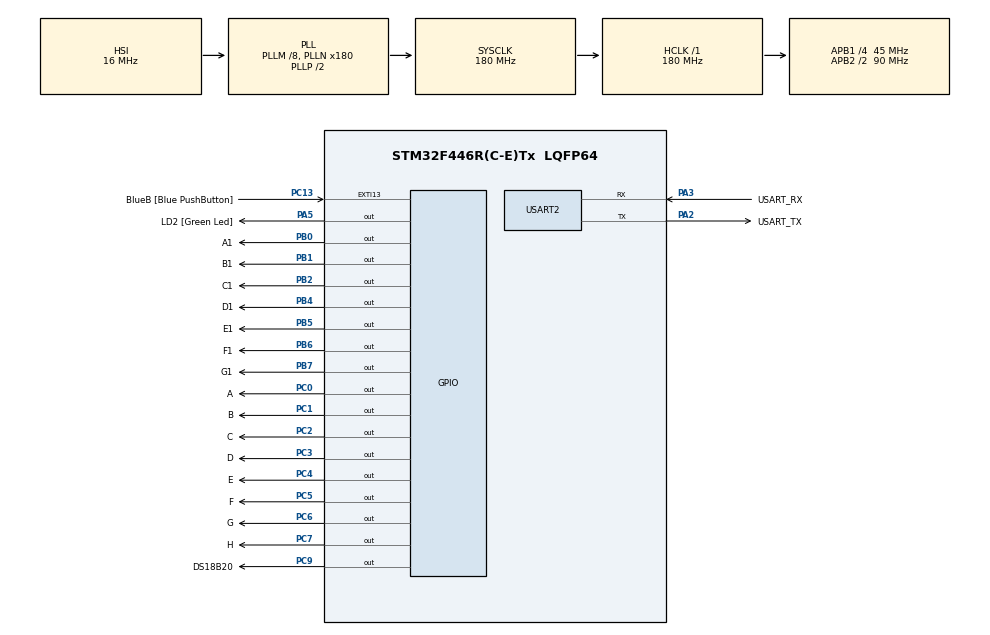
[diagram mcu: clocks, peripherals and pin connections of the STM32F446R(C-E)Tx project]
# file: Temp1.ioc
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Dma.Request0=USART2_RX
Dma.USART2_RX.0.Direction=DMA_PERIPH_TO_MEMORY
Dma.USART2_RX.0.FIFOMode=DMA_FIFOMODE_DISABLE
Dma.USART2_RX.0.Instance=DMA1_Stream5
Dma.USART2_RX.0.MemDataAlignment=DMA_MDATAALIGN_BYTE
Dma.USART2_RX.0.MemInc=DMA_MINC_ENABLE
Dma.USART2_RX.0.Mode=DMA_CIRCULAR
Dma.USART2_RX.0.PeriphDataAlignment=DMA_PDATAALIGN_BYTE
Dma.USART2_RX.0.PeriphInc=DMA_PINC_DISABLE
Dma.USART2_RX.0.Priority=DMA_PRIORITY_LOW
FREERTOS.Tasks01=defaultTask,-3,128,StartDefaultTask,Default,NULL,Dynamic,NULL,NULL;ds18b20_task,0,128,Start_ds18b20_task,Default,NULL,Dynamic,NULL,NULL
FREERTOS.configUSE_IDLE_HOOK=1
Mcu.Family=STM32F4
Mcu.Name=STM32F446R(C-E)Tx
Mcu.Package=LQFP64
NVIC.DMA1_Stream5_IRQn=true\:5\:0\:false\:false\:true\:true\:false\:true
NVIC.PriorityGroup=NVIC_PRIORITYGROUP_4
NVIC.TIM6_DAC_IRQn=true\:0\:0\:false\:false\:true\:false\:false\:true
NVIC.TimeBase=TIM6_DAC_IRQn
NVIC.TimeBaseIP=TIM6
NVIC.USART2_IRQn=true\:5\:0\:false\:false\:true\:true\:true\:true
PA13.GPIO_Label=TMS
PA13.Mode=Serial_Wire
PA13.Signal=SYS_JTMS-SWDIO
PA14.GPIO_Label=TCK
PA14.Mode=Serial_Wire
PA14.Signal=SYS_JTCK-SWCLK
PA2.GPIO_Label=USART_TX
PA2.Mode=Asynchronous
PA2.Signal=USART2_TX
PA3.GPIO_Label=USART_RX
PA3.Mode=Asynchronous
PA3.Signal=USART2_RX
PA5.GPIO_Label=LD2 [Green Led]
PA5.Signal=GPIO_Output
PB0.GPIO_Label=A1
PB0.Signal=GPIO_Output
PB1.GPIO_Label=B1
PB1.Signal=GPIO_Output
PB2.GPIO_Label=C1
PB2.Signal=GPIO_Output
PB3.GPIO_Label=SWO
PB3.Signal=SYS_JTDO-SWO
PB4.GPIO_Label=D1
PB4.Signal=GPIO_Output
PB5.GPIO_Label=E1
PB5.Signal=GPIO_Output
PB6.GPIO_Label=F1
PB6.Signal=GPIO_Output
PB7.GPIO_Label=G1
PB7.Signal=GPIO_Output
PC0.GPIO_Label=A
PC0.Signal=GPIO_Output
PC1.GPIO_Label=B
PC1.Signal=GPIO_Output
PC13.GPIO_Label=BlueB [Blue PushButton]
PC13.GPIO_ModeDefaultEXTI=GPIO_MODE_IT_FALLING
PC13.Signal=GPXTI13
PC14-OSC32_IN.Mode=LSE-External-Oscillator
PC14-OSC32_IN.Signal=RCC_OSC32_IN
PC15-OSC32_OUT.Mode=LSE-External-Oscillator
PC15-OSC32_OUT.Signal=RCC_OSC32_OUT
PC2.GPIO_Label=C
PC2.Signal=GPIO_Output
PC3.GPIO_Label=D
PC3.Signal=GPIO_Output
PC4.GPIO_Label=E
PC4.Signal=GPIO_Output
PC5.GPIO_Label=F
PC5.Signal=GPIO_Output
PC6.GPIO_Label=G
PC6.Signal=GPIO_Output
PC7.GPIO_Label=H
PC7.Signal=GPIO_Output
PC9.GPIO_Label=DS18B20
PC9.Signal=GPIO_Output
PH0-OSC_IN.Mode=HSE-External-Oscillator
PH0-OSC_IN.Signal=RCC_OSC_IN
PH1-OSC_OUT.Mode=HSE-External-Oscillator
PH1-OSC_OUT.Signal=RCC_OSC_OUT
ProjectManager.HeapSize=0x200
ProjectManager.StackSize=0x400
ProjectManager.TargetToolchain=TrueSTUDIO
RCC.48MHZClocksFreq_Value=84000000
RCC.AHBFreq_Value=180000000
RCC.APB1CLKDivider=RCC_HCLK_DIV4
RCC.APB1Freq_Value=45000000
RCC.APB1TimFreq_Value=90000000
RCC.APB2CLKDivider=RCC_HCLK_DIV2
RCC.APB2Freq_Value=90000000
RCC.APB2TimFreq_Value=180000000
RCC.CortexFreq_Value=180000000
RCC.FLatency-AdvancedSettings=FLASH_LATENCY_5
RCC.HCLKFreq_Value=180000000
RCC.HSE_VALUE=8000000
RCC.HSI_VALUE=16000000
RCC.PLLM=8
RCC.PLLN=180
RCC.SYSCLKFreq_VALUE=180000000
RCC.SYSCLKSource=RCC_SYSCLKSOURCE_PLLCLK
RCC.USBFreq_Value=180000000
RCC.VCOOutputFreq_Value=360000000
TIM7.Prescaler=179
USART2.VirtualMode=VM_ASYNC
VP_FREERTOS_VS_CMSIS_V1.Mode=CMSIS_V1
VP_SYS_VS_tim6.Mode=TIM6
VP_TIM7_VS_ClockSourceINT.Mode=Enable_Timer
board=NUCLEO-F446RE

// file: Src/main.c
/* USER CODE BEGIN Header */
/**
 ******************************************************************************
 * @file           : main.c
 * @brief          : Main program body
 ******************************************************************************
 * @attention
 *
 * <h2><center>&copy; Copyright (c) 2019 STMicroelectronics.
 * All rights reserved.</center></h2>
 *
 * This software component is licensed by ST under Ultimate Liberty license
 * SLA0044, the "License"; You may not use this file except in compliance with
 * the License. You may obtain a copy of the License at:
 *                             www.st.com/SLA0044
 *
 ******************************************************************************
 */
/* USER CODE END Header */

#include "main.h"
#include "cmsis_os.h"
#include "tm_stm32_ds18b20.h"
#include "tm_stm32_onewire.h"
#include "tm_stm32_delay.h"
#include "tm_stm32_rcc.h"
#include "defines.h"
#include "MY_DHT22.h"
#include "string.h"
#include <stdbool.h>
#include <stdio.h>

TIM_HandleTypeDef htim7;
UART_HandleTypeDef huart2;
DMA_HandleTypeDef hdma_usart2_rx;

osThreadId defaultTaskHandle;
osThreadId ds18b20_taskHandle;

void SystemClock_Config(void);
static void MX_GPIO_Init(void);
static void MX_DMA_Init(void);
static void MX_TIM7_Init(void);
static void MX_USART2_UART_Init(void);
void StartDefaultTask(void const * argument);
void Start_ds18b20_task(void const * argument);

/* USER CODE BEGIN 0 */
float temp;
float TempC, Humidity;
char str1[60]={0};
uint8_t numbers[10] = { 0x3F, 0x06, 0x5B, 0x4F, 0x66, 0x6D, 0x7D, 0x07, 0x7F,
		0x67 };
uint8_t temp_int_units;
uint8_t temp_int_decimals;
uint8_t humidity_int_units;
uint8_t humidity_int_decimals;
bool boolVar = true;

/*DHT11 CODE*/
uint8_t Rh_byte1, Rh_byte2, Temp_byte1, Temp_byte2;
uint16_t sum, RH, TEMP;
int temp_low, temp_high, rh_low, rh_high;
char temp_char1[2], temp_char2, rh_char1[2], rh_char2;
uint8_t check = 0;
GPIO_InitTypeDef GPIO_InitStruct;

void set_gpio_output(void) {
	/*Configure GPIO pin output: PA2 */
	GPIO_InitStruct.Pin = DHT11_Pin;
	GPIO_InitStruct.Mode = GPIO_MODE_OUTPUT_PP;
	GPIO_InitStruct.Speed = GPIO_SPEED_FREQ_LOW;
	HAL_GPIO_Init(DHT11_GPIO_Port, &GPIO_InitStruct);
}

void set_gpio_input(void) {
	/*Configure GPIO pin input: PA2 */
	GPIO_InitStruct.Pin = DHT11_Pin;
	GPIO_InitStruct.Mode = GPIO_MODE_INPUT;
	GPIO_InitStruct.Pull = GPIO_NOPULL;
	HAL_GPIO_Init(DHT11_GPIO_Port, &GPIO_InitStruct);
}

void DHT11_start(void) {
	set_gpio_output();  // set the pin as output
	HAL_GPIO_WritePin(DHT11_GPIO_Port, DHT11_Pin, 0);   // pull the pin low
	Delay(18000);   // wait for 18ms
	set_gpio_input();   // set as input
}

void check_response (void)
{
	Delay (40);
	if (!(HAL_GPIO_ReadPin (DHT11_GPIO_Port, DHT11_Pin)))
	{
		Delay(80);
		if ((HAL_GPIO_ReadPin (DHT11_GPIO_Port, DHT11_Pin))) check = 1;
	}
	while ((HAL_GPIO_ReadPin (DHT11_GPIO_Port, DHT11_Pin)));   // wait for the pin to go low
}

uint8_t read_data (void)
{
	uint8_t i,j;
	for (j=0;j<8;j++)
	{
		while (!(HAL_GPIO_ReadPin (DHT11_GPIO_Port, DHT11_Pin)));   // wait for the pin to go high
		Delay(40);   // wait for 40 us
		if ((HAL_GPIO_ReadPin (DHT11_GPIO_Port, DHT11_Pin)) == 0)   // if the pin is low
		{
			i&= ~(1<<(7-j));   // write 0
		}
		else i|= (1<<(7-j));  // if the pin is high, write 1
		while ((HAL_GPIO_ReadPin (DHT11_GPIO_Port, DHT11_Pin)));
		// wait for the pin to go low
	}
	return i;
}

TM_OneWire_t OW;
uint8_t DS_ROM[8];

/* USER CODE END 0 */

int main(void) {
	/* USER CODE BEGIN 1 */
	TM_RCC_InitSystem();

	GPIOC->ODR = 0xff;
	GPIOB->ODR = 0xff;

	/* USER CODE END 1 */

	/* MCU Configuration--------------------------------------------------------*/

	/* Reset of all peripherals, Initializes the Flash interface and the Systick. */
	HAL_Init();

	/* USER CODE BEGIN Init */
	TM_OneWire_Init(&OW, GPIOC, GPIO_PIN_9);
//	DHT22_Init(DHT11_GPIO_Port, DHT11_Pin);

	if (TM_OneWire_First(&OW)) {
		/* Read ROM number */
		TM_OneWire_GetFullROM(&OW, DS_ROM);
	}
	if (TM_DS18B20_Is(DS_ROM)) {
		/* Set resolution */
		TM_DS18B20_SetResolution(&OW, DS_ROM, TM_DS18B20_Resolution_9bits);

		/* Set high and low alarms */
		TM_DS18B20_SetAlarmHighTemperature(&OW, DS_ROM, 30);
		TM_DS18B20_SetAlarmLowTemperature(&OW, DS_ROM, 10);

		/* Start conversion on all sensors */
		TM_DS18B20_Start(&OW, DS_ROM);
	}

	/* USER CODE END Init */

	/* Configure the system clock */
	SystemClock_Config();

	/* Initialize all configured peripherals */
	MX_GPIO_Init();
	MX_DMA_Init();
	MX_TIM7_Init();
	MX_USART2_UART_Init();

	/* USER CODE BEGIN 2 */
	HAL_TIM_Base_Start_IT(&htim7);
	HAL_UART_Receive_IT(&huart2,(uint8_t*)str1,1);
	/* USER CODE END 2 */

	/* Create the thread(s) */
	/* definition and creation of defaultTask */
	osThreadDef(defaultTask, StartDefaultTask, osPriorityIdle, 0, 128);
	defaultTaskHandle = osThreadCreate(osThread(defaultTask), NULL);

	/* definition and creation of ds18b20_task */
	osThreadDef(ds18b20_task, Start_ds18b20_task, osPriorityNormal, 0, 128);
	ds18b20_taskHandle = osThreadCreate(osThread(ds18b20_task), NULL);

	/* Start scheduler */

	osKernelStart();

	/* We should never get here as control is now taken by the scheduler */

	/* Infinite loop */
	while (1) {

	}
}

void SystemClock_Config(void) {
	RCC_OscInitTypeDef RCC_OscInitStruct = { 0 };
	RCC_ClkInitTypeDef RCC_ClkInitStruct = { 0 };

	/** Configure the main internal regulator output voltage
	 */
	__HAL_RCC_PWR_CLK_ENABLE()
	;
	__HAL_PWR_VOLTAGESCALING_CONFIG(PWR_REGULATOR_VOLTAGE_SCALE1);
	/** Initializes the CPU, AHB and APB busses clocks
	 */
	RCC_OscInitStruct.OscillatorType = RCC_OSCILLATORTYPE_HSI;
	RCC_OscInitStruct.HSIState = RCC_HSI_ON;
	RCC_OscInitStruct.HSICalibrationValue = RCC_HSICALIBRATION_DEFAULT;
	RCC_OscInitStruct.PLL.PLLState = RCC_PLL_ON;
	RCC_OscInitStruct.PLL.PLLSource = RCC_PLLSOURCE_HSI;
	RCC_OscInitStruct.PLL.PLLM = 8;
	RCC_OscInitStruct.PLL.PLLN = 180;
	RCC_OscInitStruct.PLL.PLLP = RCC_PLLP_DIV2;
	RCC_OscInitStruct.PLL.PLLQ = 2;
	RCC_OscInitStruct.PLL.PLLR = 2;
	if (HAL_RCC_OscConfig(&RCC_OscInitStruct) != HAL_OK) {
		Error_Handler();
	}
	/** Activate the Over-Drive mode
	 */
	if (HAL_PWREx_EnableOverDrive() != HAL_OK) {
		Error_Handler();
	}
	/** Initializes the CPU, AHB and APB busses clocks
	 */
	RCC_ClkInitStruct.ClockType = RCC_CLOCKTYPE_HCLK | RCC_CLOCKTYPE_SYSCLK
			| RCC_CLOCKTYPE_PCLK1 | RCC_CLOCKTYPE_PCLK2;
	RCC_ClkInitStruct.SYSCLKSource = RCC_SYSCLKSOURCE_PLLCLK;
	RCC_ClkInitStruct.AHBCLKDivider = RCC_SYSCLK_DIV1;
	RCC_ClkInitStruct.APB1CLKDivider = RCC_HCLK_DIV4;
	RCC_ClkInitStruct.APB2CLKDivider = RCC_HCLK_DIV2;

	if (HAL_RCC_ClockConfig(&RCC_ClkInitStruct, FLASH_LATENCY_5) != HAL_OK) {
		Error_Handler();
	}
}

static void MX_TIM7_Init(void) {

	TIM_MasterConfigTypeDef sMasterConfig = { 0 };

	htim7.Instance = TIM7;
	htim7.Init.Prescaler = 179;
	htim7.Init.CounterMode = TIM_COUNTERMODE_UP;
	htim7.Init.Period = 89;
	htim7.Init.AutoReloadPreload = TIM_AUTORELOAD_PRELOAD_DISABLE;
	if (HAL_TIM_Base_Init(&htim7) != HAL_OK) {
		Error_Handler();
	}
	sMasterConfig.MasterOutputTrigger = TIM_TRGO_RESET;
	sMasterConfig.MasterSlaveMode = TIM_MASTERSLAVEMODE_DISABLE;
	if (HAL_TIMEx_MasterConfigSynchronization(&htim7, &sMasterConfig)
			!= HAL_OK) {
		Error_Handler();
	}

}

static void MX_USART2_UART_Init(void) {

	huart2.Instance = USART2;
	huart2.Init.BaudRate = 9600;
	huart2.Init.WordLength = UART_WORDLENGTH_8B;
	huart2.Init.StopBits = UART_STOPBITS_1;
	huart2.Init.Parity = UART_PARITY_NONE;
	huart2.Init.Mode = UART_MODE_TX_RX;
	huart2.Init.HwFlowCtl = UART_HWCONTROL_NONE;
	huart2.Init.OverSampling = UART_OVERSAMPLING_16;
	if (HAL_UART_Init(&huart2) != HAL_OK) {
		Error_Handler();
	}

}

static void MX_DMA_Init(void) {

	/* DMA controller clock enable */
	__HAL_RCC_DMA1_CLK_ENABLE()
	;

	/* DMA interrupt init */
	/* DMA1_Stream5_IRQn interrupt configuration */
	HAL_NVIC_SetPriority(DMA1_Stream5_IRQn, 5, 0);
	HAL_NVIC_EnableIRQ(DMA1_Stream5_IRQn);

}

static void MX_GPIO_Init(void) {
	GPIO_InitTypeDef GPIO_InitStruct = { 0 };

	/* GPIO Ports Clock Enable */
	__HAL_RCC_GPIOC_CLK_ENABLE()
	;
	__HAL_RCC_GPIOH_CLK_ENABLE()
	;
	__HAL_RCC_GPIOA_CLK_ENABLE()
	;
	__HAL_RCC_GPIOB_CLK_ENABLE()
	;

	/*Configure GPIO pin Output Level */
	HAL_GPIO_WritePin(GPIOC,
			A_Pin | B_Pin | C_Pin | D_Pin | E_Pin | F_Pin | G_Pin | H_Pin
					| DS18B20_Pin, GPIO_PIN_RESET);

	HAL_GPIO_WritePin(GPIOB,
			A1_Pin | B1_Pin | C1_Pin | D1_Pin | BlueB_Pin | E1_Pin | F1_Pin
					| G1_Pin | HC05_Pin, GPIO_PIN_RESET);

	HAL_GPIO_WritePin(DHT11_GPIO_Port, DHT11_Pin, GPIO_PIN_RESET);

	/*Configure GPIO pin Output Level */
	HAL_GPIO_WritePin(LD2_GPIO_Port, LD2_Pin, GPIO_PIN_RESET);

	/*Configure GPIO pins : DHT11_Pin */
	GPIO_InitStruct.Pin = DHT11_Pin;
	GPIO_InitStruct.Mode = GPIO_MODE_OUTPUT_PP;
	GPIO_InitStruct.Pull = GPIO_NOPULL;
	GPIO_InitStruct.Speed = GPIO_SPEED_FREQ_LOW;
	HAL_GPIO_Init(DHT11_GPIO_Port, &GPIO_InitStruct);

	/*Configure GPIO pin : B1_Pin */
	GPIO_InitStruct.Pin = B1_Pin;
	GPIO_InitStruct.Mode = GPIO_MODE_IT_FALLING;
	GPIO_InitStruct.Pull = GPIO_NOPULL;
	HAL_GPIO_Init(B1_GPIO_Port, &GPIO_InitStruct);

	/*Configure GPIO pins : HC05_Pin */
	GPIO_InitStruct.Pin = HC05_Pin;
	GPIO_InitStruct.Mode = GPIO_MODE_OUTPUT_PP;
	GPIO_InitStruct.Pull = GPIO_NOPULL;
	GPIO_InitStruct.Speed = GPIO_SPEED_FREQ_MEDIUM;
	HAL_GPIO_Init(HC05_GPIO_PORT, &GPIO_InitStruct);

	/*Configure GPIO pins : A_Pin B_Pin C_Pin D_Pin
	 E_Pin F_Pin G_Pin H_Pin
	 DS18B20_Pin */
	GPIO_InitStruct.Pin = A_Pin | B_Pin | C_Pin | D_Pin | E_Pin | F_Pin | G_Pin
			| H_Pin | DS18B20_Pin;
	GPIO_InitStruct.Mode = GPIO_MODE_OUTPUT_PP;
	GPIO_InitStruct.Pull = GPIO_NOPULL;
	GPIO_InitStruct.Speed = GPIO_SPEED_FREQ_LOW;
	HAL_GPIO_Init(GPIOC, &GPIO_InitStruct);

	/*Configure GPIO pin : LD2_Pin */
	GPIO_InitStruct.Pin = LD2_Pin;
	GPIO_InitStruct.Mode = GPIO_MODE_OUTPUT_PP;
	GPIO_InitStruct.Pull = GPIO_NOPULL;
	GPIO_InitStruct.Speed = GPIO_SPEED_FREQ_LOW;
	HAL_GPIO_Init(LD2_GPIO_Port, &GPIO_InitStruct);

	/*Configure GPIO pins : A1_Pin B1_Pin C1_Pin D1_Pin
	 E1_Pin F1_Pin G1_Pin */

	GPIO_InitStruct.Pin = A1_Pin | B1_Pin | C1_Pin | D1_Pin | BlueB_Pin | E1_Pin
			| F1_Pin | G1_Pin;
	GPIO_InitStruct.Mode = GPIO_MODE_OUTPUT_PP;
	GPIO_InitStruct.Pull = GPIO_NOPULL;
	GPIO_InitStruct.Speed = GPIO_SPEED_FREQ_LOW;
	HAL_GPIO_Init(GPIOB, &GPIO_InitStruct);

}

void StartDefaultTask(void const * argument) {

	/* USER CODE BEGIN 5 */
	/* Infinite loop */
	for (;;) {
		LD2_TOGGLE()
		;
		vTaskDelay(100);
	}
	/* USER CODE END 5 */
}

void Start_ds18b20_task(void const * argument) {
	/* USER CODE BEGIN Start_ds18b20_task */
	/* Infinite loop */
	for (;;) {
		if (HAL_GPIO_ReadPin(BlueB_GPIO_Port, BlueB_Pin)) {
			if (TM_DS18B20_Is(DS_ROM)) {
				/* Everything is done */
				if (TM_DS18B20_AllDone(&OW)) {
					/* Read temperature from device */
					if (TM_DS18B20_Read(&OW, DS_ROM, &temp)) {
						/* Temp read OK, CRC is OK */

						/* Start again on all sensors */
						TM_DS18B20_StartAll(&OW);

						temp_int_units = ((uint8_t) temp) % 10;
						temp_int_decimals = ((uint8_t) temp) / 10;

						GPIOB->ODR = numbers[temp_int_decimals];
						GPIOC->ODR = numbers[temp_int_units];

						/* Check temperature */

						vTaskDelay(500);

					} else {
						/* CRC failed, hardware problems on data line */
					}
				}
			}
//			DHT11_start ();
//			check_response ();
//			Rh_byte1 = read_data ();
//			Rh_byte2 = read_data ();
//			Temp_byte1 = read_data ();
//			Temp_byte2 = read_data ();
//			sum = read_data();
//			if (sum == (Rh_byte1+Rh_byte2+Temp_byte1+Temp_byte2))    // if the data is correct
//			{
//			DHT22_GetTemp_Humidity(&TempC, &Humidity);

//			humidity_int_units = ((uint8_t) Humidity) % 10;
//			humidity_int_decimals = ((uint8_t) Humidity) / 10;

//			humidity_int_units = (Temp_byte1) % 10;
//			humidity_int_decimals = (Temp_byte1) / 10;
//
//				GPIOB->ODR = numbers[humidity_int_decimals];
//				GPIOC->ODR = numbers[humidity_int_units];
//				boolVar = true;
//				vTaskDelay(1000);
			boolVar = false;
		} else if (HAL_GPIO_ReadPin(BlueB_GPIO_Port, BlueB_Pin)
				== GPIO_PIN_RESET) {

			DHT11_start ();
			check_response ();
			Rh_byte1 = read_data ();
			Rh_byte2 = read_data ();
			Temp_byte1 = read_data ();
			Temp_byte2 = read_data ();
			sum = read_data();
//			if (sum == (Rh_byte1+Rh_byte2+Temp_byte1+Temp_byte2))    // if the data is correct
//			{
//			DHT22_GetTemp_Humidity(&TempC, &Humidity);

//			humidity_int_units = ((uint8_t) Humidity) % 10;
//			humidity_int_decimals = ((uint8_t) Humidity) / 10;

			humidity_int_units = (Rh_byte1) % 10;
			humidity_int_decimals = (Rh_byte1) / 10;

				GPIOB->ODR = numbers[humidity_int_decimals];
				GPIOC->ODR = numbers[humidity_int_units];
				boolVar = true;
				vTaskDelay(1000);

			}
		}
	}

	/* USER CODE END Start_ds18b20_task */

void HAL_TIM_PeriodElapsedCallback(TIM_HandleTypeDef *htim) {
	if (htim->Instance == TIM7) {
		HAL_IncTick();
		uint8_t dupa = 6;
		sprintf(str1, "test %d \r\n", dupa);
		HAL_UART_Transmit_IT(&huart2, (uint8_t*)str1, strlen(str1));
	}
}

void Error_Handler(void) {
}

/************************ (C) COPYRIGHT STMicroelectronics *****END OF FILE****/

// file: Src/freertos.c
/* USER CODE BEGIN Header */
/**
  ******************************************************************************
  * File Name          : freertos.c
  * Description        : Code for freertos applications
  ******************************************************************************
  * @attention
  *
  * <h2><center>&copy; Copyright (c) 2019 STMicroelectronics.
  * All rights reserved.</center></h2>
  *
  * This software component is licensed by ST under Ultimate Liberty license
  * SLA0044, the "License"; You may not use this file except in compliance with
  * the License. You may obtain a copy of the License at:
  *                             www.st.com/SLA0044
  *
  ******************************************************************************
  */
/* USER CODE END Header */

#include "FreeRTOS.h"
#include "task.h"
#include "main.h"

/* GetIdleTaskMemory prototype (linked to static allocation support) */
void vApplicationGetIdleTaskMemory( StaticTask_t **ppxIdleTaskTCBBuffer, StackType_t **ppxIdleTaskStackBuffer, uint32_t *pulIdleTaskStackSize );

/* Hook prototypes */
void vApplicationIdleHook(void);

/* USER CODE BEGIN 2 */
__weak void vApplicationIdleHook( void )
{
   /* vApplicationIdleHook() will only be called if configUSE_IDLE_HOOK is set
   to 1 in FreeRTOSConfig.h. It will be called on each iteration of the idle
   task. It is essential that code added to this hook function never attempts
   to block in any way (for example, call xQueueReceive() with a block time
   specified, or call vTaskDelay()). If the application makes use of the
   vTaskDelete() API function (as this demo application does) then it is also
   important that vApplicationIdleHook() is permitted to return to its calling
   function, because it is the responsibility of the idle task to clean up
   memory allocated by the kernel to any task that has since been deleted. */
}
/* USER CODE END 2 */

/* USER CODE BEGIN GET_IDLE_TASK_MEMORY */
static StaticTask_t xIdleTaskTCBBuffer;
static StackType_t xIdleStack[configMINIMAL_STACK_SIZE];

void vApplicationGetIdleTaskMemory( StaticTask_t **ppxIdleTaskTCBBuffer, StackType_t **ppxIdleTaskStackBuffer, uint32_t *pulIdleTaskStackSize )
{
  *ppxIdleTaskTCBBuffer = &xIdleTaskTCBBuffer;
  *ppxIdleTaskStackBuffer = &xIdleStack[0];
  *pulIdleTaskStackSize = configMINIMAL_STACK_SIZE;
  /* place for user code */
}
/* USER CODE END GET_IDLE_TASK_MEMORY */

/************************ (C) COPYRIGHT STMicroelectronics *****END OF FILE****/
